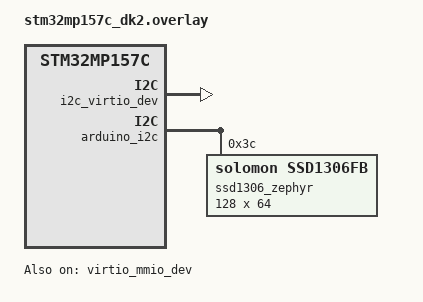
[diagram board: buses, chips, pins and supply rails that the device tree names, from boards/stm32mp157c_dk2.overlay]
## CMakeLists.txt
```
# Copyright (c) 2023  STMicroelectronics
#
# SPDX-License-Identifier: Apache-2.0
#

cmake_minimum_required(VERSION 3.13.1)

set(ZEPHYR_EXTRA_MODULES ${CMAKE_CURRENT_SOURCE_DIR}/../zephyr_virtio_device)
set(SHIELD x_nucleo_iks01a2)
find_package(Zephyr REQUIRED HINTS $ENV{ZEPHYR_BASE})

project(openamp_virtio_i2c)

target_sources(app PRIVATE src/main_remote.c)
target_sources(app PRIVATE src/mmio_table.c)
target_include_directories(app PRIVATE ${LIBMETAL_INCLUDE_DIR} ${OPENAMP_INCLUDE_DIR} ${PLATFORM_DIR})
```

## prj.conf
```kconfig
CONFIG_KERNEL_BIN_NAME="zephyr_openamp_virtio_i2c"
CONFIG_PRINTK=y
CONFIG_IPM=y
CONFIG_PLATFORM_SPECIFIC_INIT=n
CONFIG_MAIN_STACK_SIZE=4096
CONFIG_HEAP_MEM_POOL_SIZE=16384
CONFIG_OPENAMP=y
CONFIG_I2C=y
CONFIG_I2C_STM32_INTERRUPT=y
CONFIG_I2C_TARGET=y
CONFIG_CBPRINTF_FP_SUPPORT=y

CONFIG_VIRTIO=y
CONFIG_VIRTIO_MMIO_DEV=y
CONFIG_I2C_VIRTIO_DEV=y

# add display
CONFIG_DISPLAY=y
CONFIG_CFB_LOG_LEVEL_DBG=y
CONFIG_CHARACTER_FRAMEBUFFER=y
CONFIG_SSD1306=y

#sensor
CONFIG_SENSOR=y
CONFIG_HTS221=y
CONFIG_LPS22HB=y
```

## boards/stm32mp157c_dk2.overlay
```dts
/*
 * Copyright (c) 2023, STMICROLECTRONICS
 *
 * SPDX-License-Identifier: Apache-2.0
 */

#include "virtio_mmio_dev.dtsi"

/ {
	chosen {
		zephyr,ipc = &mailbox;
	};
};

&virtio_mmio_dev {
	status = "okay";
};

&i2c_virtio_dev {
	status = "okay";
};

&arduino_i2c {
	status = "okay";
	ssd1306_zephyr:ssd1306@3c {
		compatible = "solomon,ssd1306fb";
		reg = <0x3c>;
		width = <128>;
		height = <64>;
		segment-offset = <0>;
		page-offset = <0>;
		display-offset = <0>;
		multiplex-ratio = <63>;
		segment-remap;
		com-invdir;
		prechargep = <0x22>;
	};
};
```

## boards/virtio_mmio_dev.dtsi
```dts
/{
    soc {
        virtio_mmio_dev: virtio_mmio_dev@10050000 {
            compatible = "virtio-mmio-dev";
            reg = <0x10050000 0x8000>;
            status = "disabled";

            i2c_virtio_dev: i2c_virtio_dev {
                compatible = "virtio-i2c-dev";
                status = "disabled";
            };

        };
    };
};
```

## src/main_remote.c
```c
/*
 * Copyright (c) 2023, STMICROLECTRONICS
 *
 * SPDX-License-Identifier: Apache-2.0
 */

#include <stdlib.h>
#include <stdio.h>
#include <string.h>

#include <drivers/virtio/virtio_mmio_dev.h>

#include <zephyr/device.h>
#include <zephyr/drivers/sensor.h>
#include <zephyr/drivers/i2c.h>
#include <zephyr/drivers/ipm.h>
#include <zephyr/kernel.h>

/* Display / Framebuffer */
#include <zephyr/display/cfb.h>

#include <zephyr/logging/log.h>
LOG_MODULE_REGISTER(openamp_virtio_i2c, LOG_LEVEL_DBG);

#define I2C_REMOTE_DISP_ADDR 0x3D

/* constant derivated from linker symbols */

#define APP_TASK_STACK_SIZE (4096)
K_THREAD_STACK_DEFINE(thread_stack, APP_TASK_STACK_SIZE);
static struct k_thread thread_data;

static const struct device *const ipm_handle =
	DEVICE_DT_GET(DT_CHOSEN(zephyr_ipc));

static const struct device *const virtio_mmio_dev =
	DEVICE_DT_GET(DT_NODELABEL(virtio_mmio_dev));

static const struct device *const virtio_i2c_dev =
	DEVICE_DT_GET(DT_NODELABEL(i2c_virtio_dev));

static const struct device *const i2c_dev = DEVICE_DT_GET(DT_NODELABEL(arduino_i2c));

#ifdef CONFIG_SSD1306
static const struct device *const dev_display = DEVICE_DT_GET(DT_NODELABEL(ssd1306_zephyr));
#endif

#ifdef CONFIG_HTS221
static const struct device *const hts221 = DEVICE_DT_GET(DT_NODELABEL(hts221_x_nucleo_iks01a2));
#endif

#ifdef CONFIG_LPS22HB
static const struct device *const lps22hb =
			DEVICE_DT_GET(DT_NODELABEL(lps22hb_press_x_nucleo_iks01a2));
#endif

static uint16_t display_rows;
static uint8_t display_ppt;
static uint8_t display_font_width;
static uint8_t display_font_height;
static bool display_available;

static struct sensor_value temp1, temp2, hum, press;

static bool hts221_available = true;
static bool lps22hb_available = true;

void stop_display(void)
{
	display_blanking_on(dev_display);
}

static void platform_ipm_callback(const struct device *dev,
				  void *context, uint32_t id, volatile void *data)
{
	if (id == 2) {
		/* receive shutdown */
		stop_display();
		return;
	}

	if (id == 5) {
		virtio_mmio_interrupt(virtio_mmio_dev);
		return;
	}
}

static void send_virtio_it(void)
{
	ipm_send(ipm_handle, 0, 4, NULL, 0);
}

void init_sensors(void)
{
	/* search in devicetree if sensors are referenced */

#if CONFIG_HTS221
	if (!device_is_ready(hts221)) {
		LOG_ERR("Could not get HTS221 device\n");
		hts221_available = false;
	}
#endif
#if CONFIG_LPS22HB
	if (!device_is_ready(lps22hb)) {
		LOG_ERR("Could not get LPS22HB device\n");
		lps22hb_available = false;
	}
#endif

	/* set LSM6DSL accel/gyro sampling frequency to 104 Hz */
	struct sensor_value odr_attr;

	odr_attr.val1 = 104;
	odr_attr.val2 = 0;

}

int init_display(void)
{
	int ret;

	/* init display */
	if (!device_is_ready(dev_display)) {
		LOG_ERR("Display Device not found\n");
		return -ENODEV;
	}
	display_available = true;

	ret = display_set_pixel_format(dev_display, PIXEL_FORMAT_MONO10);
	if (ret) {
		LOG_ERR("Failed to set format PIXEL_FORMAT_MONO10\n");
		return ret;
	}

	ret = cfb_framebuffer_init(dev_display);
	if (ret) {
		LOG_ERR("Framebuffer initialization failed!\n");
		return ret;
	}
	cfb_framebuffer_clear(dev_display, true);

	display_blanking_off(dev_display);

	display_rows = cfb_get_display_parameter(dev_display,
						 CFB_DISPLAY_ROWS);
	display_ppt = cfb_get_display_parameter(dev_display,
						CFB_DISPLAY_PPT);
	for (int idx = 0; idx < 42; idx++) {
		if (cfb_get_font_size(dev_display, idx,
				      &display_font_width,
				      &display_font_height)) {
			break;
		}
		cfb_framebuffer_set_font(dev_display, idx);
		LOG_DBG("idx: %d font width %d, font height %d\n",
			idx, display_font_width, display_font_height);
	}
	/* for idx: 0 font width 10, font height 16*/
	cfb_framebuffer_set_font(dev_display, 0);
	cfb_get_font_size(dev_display, 0, &display_font_width,
			  &display_font_height);

	LOG_DBG("x_res %d, y_res %d, ppt %d, rows %d, cols %d\n",
		cfb_get_display_parameter(dev_display, CFB_DISPLAY_WIDTH),
		cfb_get_display_parameter(dev_display, CFB_DISPLAY_HEIGH),
		display_ppt,
		display_rows,
		cfb_get_display_parameter(dev_display, CFB_DISPLAY_COLS));

	return 0;
}

int init_remote_display(void)
{
	if (!device_is_ready(i2c_dev)) {
		LOG_ERR("failed to bind remote display\n");
		return -ENODEV;
	}

	return 0;
}

int platform_init(void)
{
	int status;

	virtio_mmio_configure_interrupt(virtio_mmio_dev, send_virtio_it);

	/* setup IPM */
	if (!device_is_ready(ipm_handle)) {
		LOG_ERR("IPM device is not ready\n");
		return -1;
	}

	ipm_register_callback(ipm_handle, platform_ipm_callback, NULL);

	status = ipm_set_enabled(ipm_handle, 1);
	if (status) {
		LOG_ERR("ipm_set_enabled failed\n");
		return -1;
	}

	return 0;
}

static void cleanup_system(void)
{
	ipm_set_enabled(ipm_handle, 0);
}

static int i2c_target_transfer(struct i2c_target_config *config, struct i2c_msg msg)
{
	return i2c_transfer(i2c_dev, &msg, 1, config->address);
}

static const struct i2c_target_callbacks i2c_virtio_callbacks = {
	.transfer = i2c_target_transfer,
};

void app_task(void *arg1, void *arg2, void *arg3)
{
	ARG_UNUSED(arg1);
	ARG_UNUSED(arg2);
	ARG_UNUSED(arg3);

	int len;
	int ret = 0;
	char message[128];
	char display_buf[16];
	uint8_t line = 0;

	struct i2c_target_config config;

	/* Allow full access to the bus, specify address to allow only one address */
	config.address = 0xFF;
	config.callbacks = &i2c_virtio_callbacks;

	ret = i2c_target_register(virtio_i2c_dev, &config);
	if (ret) {
		LOG_ERR("Failed to register I2C SLAVE %#x\n", config.address);
		goto task_end;
	}

	LOG_INF("\r\nOpenAMP[remote] I2C demo started\n");

	init_remote_display();
	init_sensors();
	init_display();

	if (display_available) {
		line = 0;
		LOG_ERR("--init display screen --\n");

		cfb_framebuffer_clear(dev_display, false);
		cfb_print(dev_display, "Zephyr", 0,
			  line++ * display_font_height);
		cfb_print(dev_display, "   Waiting ", 0,
			  line++ * display_font_height);
		cfb_print(dev_display, "     TTY   ", 0,
			  line++ * display_font_height);
		cfb_print(dev_display, "    data   ", 0,
			  line++ * display_font_height);
		cfb_framebuffer_finalize(dev_display);
	}

	while (1) {
		unsigned int line = 0;

		if (display_available)
			cfb_framebuffer_clear(dev_display, false);

		/* Get sensor samples */
		if (hts221_available && sensor_sample_fetch(hts221) < 0)
			printf("HTS221 Sensor sample update error\n");
		if (lps22hb_available && sensor_sample_fetch(lps22hb) < 0)
			printf("LPS22HB Sensor sample update error\n");

		/* Get sensor data */
		if (hts221_available) {
			sensor_channel_get(hts221, SENSOR_CHAN_AMBIENT_TEMP,
					   &temp1);
			sensor_channel_get(hts221, SENSOR_CHAN_HUMIDITY, &hum);
		}
		if (lps22hb_available) {
			sensor_channel_get(lps22hb, SENSOR_CHAN_PRESS, &press);
			sensor_channel_get(lps22hb, SENSOR_CHAN_AMBIENT_TEMP,
					   &temp2);
		}

		/* Erase previous */
		if (display_available) {
			cfb_print(dev_display, "Zephyr", 0,
				  line++ * display_font_height);

			if (hts221_available) {
				/* temperature */
				snprintf(display_buf, sizeof(display_buf), "T: %.2f*C",
					 sensor_value_to_float(&temp1));

				cfb_print(dev_display, display_buf, 0,
					  line++ * display_font_height);

				/* humidity */
				snprintf(display_buf, sizeof(display_buf), "H: %.1f%%",
					 sensor_value_to_float(&hum));

				cfb_print(dev_display, display_buf, 0,
					  line++ * display_font_height);
			} else {
				cfb_print(dev_display, "T: N/A", 0, line++ * display_font_height);
				cfb_print(dev_display, "H: N/A", 0, line++ * display_font_height);
			}

			if (lps22hb_available) {
				/* pressure */
				/* lps22hb temperature */
				len = snprintf(message, sizeof(message),
					       "LPS22HB: Temperature: %.1f C\n",
					       sensor_value_to_double(&temp2));

				snprintf(display_buf, sizeof(display_buf), "P: %.2fkpa",
					 (sensor_value_to_double(&press) * 10.0));

				cfb_print(dev_display, display_buf, 0,
					  line++ * display_font_height);
			} else {
				cfb_print(dev_display, "P: N/A", 0, line++ * display_font_height);
			}

			cfb_framebuffer_finalize(dev_display);
		}

		k_msleep(500);
	}

task_end:
	cleanup_system();

	LOG_DBG("sensor task ended\n");
}

static int openamp_init(const struct device *dev)
{
	int ret;

	/* Initialize platform */
	ret = platform_init();
	if (ret) {
		LOG_ERR("Failed to initialize platform\n");
		goto error_case;
	}

	return 0;

error_case:
	cleanup_system();

	return 1;
}

void main(void)
{
	k_thread_create(&thread_data, thread_stack, APP_TASK_STACK_SIZE,
			(k_thread_entry_t)app_task,
			NULL, NULL, NULL, K_PRIO_COOP(7), 0, K_NO_WAIT);
}

SYS_INIT(openamp_init, POST_KERNEL, CONFIG_KERNEL_INIT_PRIORITY_DEVICE);
```

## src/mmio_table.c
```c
#include <openamp/virtio_mmio.h>

#define __resource Z_GENERIC_SECTION(.mmio_table)

static struct virtio_mmio_dev_table __resource __attribute__((used)) mmio_table = EMPTY_MMIO_TABLE;
```
